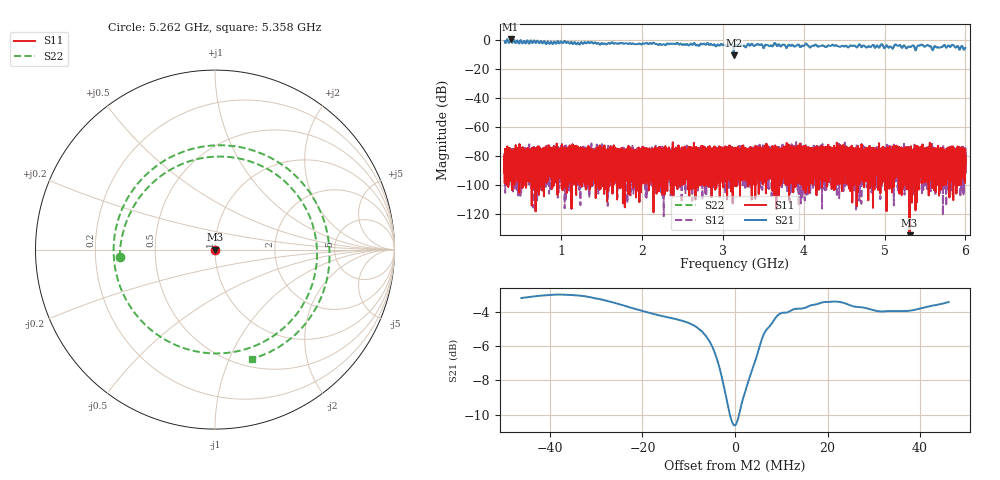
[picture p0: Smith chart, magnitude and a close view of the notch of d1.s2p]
!Agilent Technologies,N5230C,SG49000117,A.08.50.07
!Agilent N5230C: A.08.50.07
!Date: Monday, March 18, 2024 19:11:19
!Correction: S11(Off)
!S21(Off)
!S12(Off)
!S22(Off)
!S2P File: Measurements: S11, S21, S12, S22:
# Hz S  RI  R 50
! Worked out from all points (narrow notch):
!   20001 points, 300 MHz to 6 GHz, reference 50 ohm
!   highest |S21| = 0.45 dB at 373.8 MHz (marker M1); lowest = -10.6 dB at 3.134 GHz (marker M2)
!   notch at M2: 7.2 dB deep, 7.7 MHz wide at half that depth
!   lowest |S11| = -135.1 dB at 5.309 GHz (marker M3), VSWR 1.00, Z = 50 - j5.96e-06 ohm
!   |S11| at or under -10 dB: start of sweep to end of sweep
!   |S22| runs from -10.6 to 0.5 dB; largest |S21 - S12| = 1.1
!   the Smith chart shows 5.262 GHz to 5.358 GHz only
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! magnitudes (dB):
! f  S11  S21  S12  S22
! 300 MHz  -83.8  -0.9  -80.8  -0.9
! 373.8 MHz  -95.5  0.5  -91.3  0.5
! 1.25 GHz  -86.5  -1.7  -80.5  -1.7
! 2.2 GHz  -84.1  -3.6  -84.0  -3.6
! 3.082 GHz  -78.0  -3.4  -84.2  -3.3
! 3.134 GHz  -85.9  -10.6  -77.5  -10.6
! 3.15 GHz  -82.1  -3.6  -84.7  -3.6
! 3.172 GHz  -84.9  -3.9  -84.3  -3.9
! 3.269 GHz  -85.9  -4.4  -82.4  -4.3
! 3.335 GHz  -79.4  -4.1  -78.3  -4.0
! 3.975 GHz  -83.5  -4.2  -81.1  -4.1
! 4.032 GHz  -81.9  -2.8  -77.1  -2.7
! 4.1 GHz  -83.0  -4.2  -83.8  -4.1
! 5.05 GHz  -85.5  -5.4  -93.4  -5.4
! 5.154 GHz  -87.5  -3.9  -97.2  -3.9
! 5.309 GHz  -135.1  -4.9  -80.3  -4.9
! 5.394 GHz  -94.4  -6.0  -87.0  -6.0
! 5.451 GHz  -80.9  -3.4  -84.9  -3.5
! 5.606 GHz  -77.5  -6.0  -78.0  -6.0
! 5.84 GHz  -83.7  -3.5  -75.6  -3.5
! 5.971 GHz  -84.2  -5.6  -87.5  -5.7
! 6 GHz  -75.9  -5.5  -91.7  -5.5
